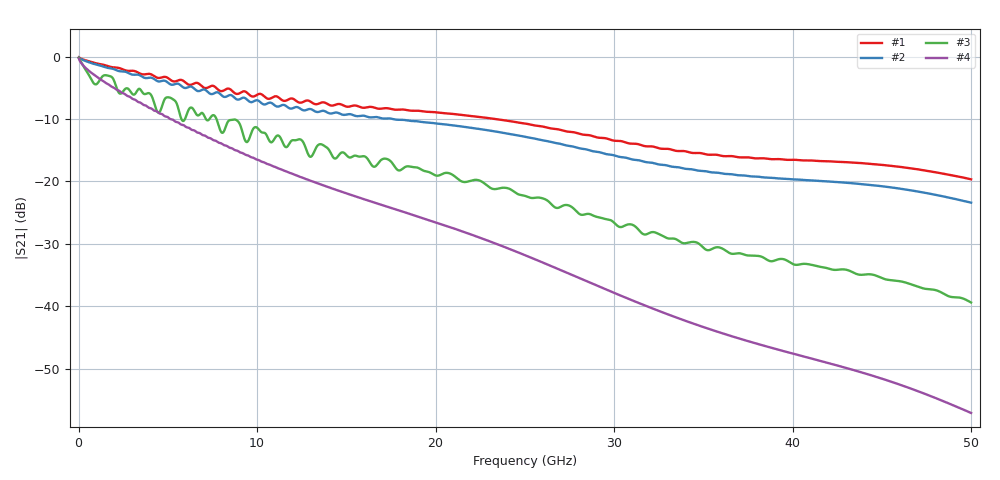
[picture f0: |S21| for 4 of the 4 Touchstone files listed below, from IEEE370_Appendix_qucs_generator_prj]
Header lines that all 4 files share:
# HZ S RI R 50
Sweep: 20 MHz to 50 GHz
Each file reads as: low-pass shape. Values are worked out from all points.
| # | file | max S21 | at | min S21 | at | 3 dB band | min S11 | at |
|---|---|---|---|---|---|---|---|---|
| 1 | case_01_2xThru.s2p | -0.12 dB | 20 MHz | -19.7 dB | 50 GHz | 20 MHz-4.22 GHz | -49.9 dB | 20 MHz |
| 2 | case_01_F-DUT1-F.s2p | -0.14 dB | 20 MHz | -23.4 dB | 50 GHz | 20 MHz-3.5 GHz | -49.3 dB | 20 MHz |
| 3 | case_01_F-DUT2-F.s2p | -0.24 dB | 20 MHz | -39.4 dB | 50 GHz | 20 MHz-620 MHz | -39.3 dB | 22.32 GHz |
| 4 | case_01_F-DUT3-F.s2p | -0.36 dB | 20 MHz | -57.1 dB | 50 GHz | 20 MHz-1.06 GHz | -48.0 dB | 220 MHz |
